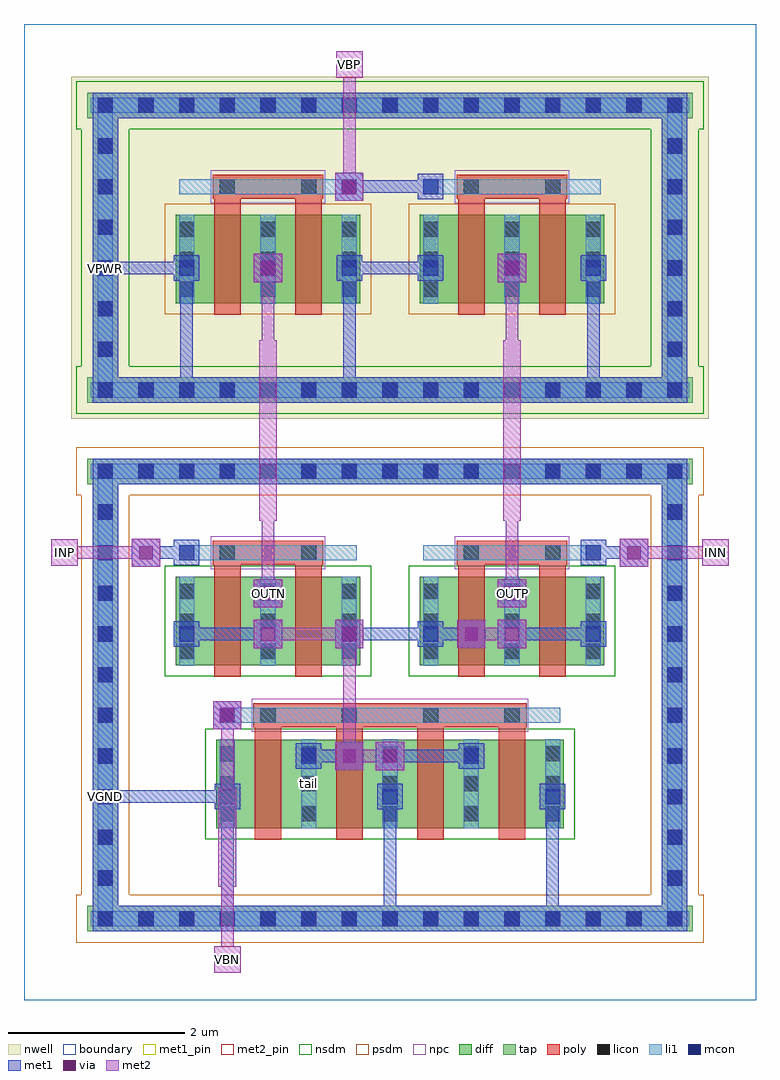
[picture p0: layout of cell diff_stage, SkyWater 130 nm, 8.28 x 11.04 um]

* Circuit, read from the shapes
.subckt diff_stage INN INP OUTN OUTP VBN VBP VGND VPWR tail
XM1 OUTN INP tail VGND sky130_fd_pr__nfet_01v8 w=1 l=0.3 m=2
XM2 tail VBN VGND VGND sky130_fd_pr__nfet_01v8 w=1 l=0.3 m=4
XM3 OUTP INN tail VGND sky130_fd_pr__nfet_01v8 w=1 l=0.3 m=2
XM4 OUTN VBP VPWR VPWR sky130_fd_pr__pfet_01v8 w=1 l=0.3 m=2
XM5 OUTP VBP VPWR VPWR sky130_fd_pr__pfet_01v8 w=1 l=0.3 m=2
.ends

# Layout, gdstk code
import gdstk
lib = gdstk.Library(unit=1e-6, precision=1e-09)
def R(c, l, rs):  # rectangles x0, y0, x1, y1
    for r in rs: c.add(gdstk.rectangle(r[:2], r[2:], *l))
def A(c, l, x, y, w, h, nx, ny, dx, dy):  # array of equal rectangles
    R(c, l, [(x+i*dx, y+j*dy, x+i*dx+w, y+j*dy+h) for i in range(nx) for j in range(ny)])
nwell = (64, 20)
diff = (65, 20)
tap = (65, 44)
poly = (66, 20)
licon = (66, 44)
li1 = (67, 20)
mcon = (67, 44)
met1_pin = (68, 16)
met1 = (68, 20)
via = (68, 44)
met2_pin = (69, 16)
met2 = (69, 20)
nsdm = (93, 44)
psdm = (94, 20)
npc = (95, 20)
boundary = (235, 4)

diff_stage = lib.new_cell('diff_stage')
R(diff_stage, nwell, [(0.535,6.575,7.745,10.445)])
R(diff_stage, diff, [(2.175,1.945,6.105,2.945), (1.715,3.785,3.805,4.785), (4.475,3.785,6.565,4.785), (1.715,7.88,3.805,8.88), (4.475,7.88,6.565,8.88)])
R(diff_stage, tap, [(0.715,0.775,7.565,1.065), (0.775,0.775,1.065,6.125), (7.215,0.775,7.505,6.125), (0.715,5.835,7.565,6.125), (0.715,6.755,7.565,7.045), (0.775,6.755,1.065,10.265), (7.215,6.755,7.505,10.265), (0.715,9.975,7.565,10.265)])
A(diff_stage, poly, 2.61, 1.815, 0.3, 1.405, 4, 1, 0.92, 0)
R(diff_stage, poly, [(2.595,3.085,5.685,3.355), (2.15,3.655,2.45,5.06), (3.07,3.655,3.37,5.06), (4.91,3.655,5.21,5.06), (5.83,3.655,6.13,5.06), (2.135,4.925,3.385,5.195), (4.895,4.925,6.145,5.195), (2.15,7.75,2.45,9.2), (3.07,7.75,3.37,9.2), (4.91,7.75,5.21,9.2), (5.83,7.75,6.13,9.2), (2.135,9.065,3.385,9.335), (4.895,9.065,6.145,9.335)])
A(diff_stage, licon, 0.835, 0.835, 0.17, 0.17, 15, 2, 0.46, 5.06)
A(diff_stage, licon, 0.835, 1.295, 0.17, 0.17, 1, 10, 0, 0.46)
A(diff_stage, licon, 7.275, 1.295, 0.17, 0.17, 1, 10, 0, 0.46)
A(diff_stage, licon, 2.215, 2.02, 0.17, 0.17, 5, 3, 0.92, 0.34)
A(diff_stage, licon, 2.675, 3.135, 0.17, 0.17, 4, 1, 0.92, 0)
A(diff_stage, licon, 1.755, 3.86, 0.17, 0.17, 6, 3, 0.92, 0.34)
A(diff_stage, licon, 0.835, 6.815, 0.17, 0.17, 15, 2, 0.46, 3.22)
A(diff_stage, licon, 0.835, 7.275, 0.17, 0.17, 1, 6, 0, 0.46)
A(diff_stage, licon, 7.275, 7.275, 0.17, 0.17, 1, 6, 0, 0.46)
A(diff_stage, licon, 1.755, 7.955, 0.17, 0.17, 6, 3, 0.92, 0.34)
R(diff_stage, licon, [(2.215,4.975,2.385,5.145), (3.135,4.975,3.305,5.145), (4.975,4.975,5.145,5.145), (5.895,4.975,6.065,5.145), (2.215,9.115,2.385,9.285), (3.135,9.115,3.305,9.285), (4.975,9.115,5.145,9.285), (5.895,9.115,6.065,9.285)])
A(diff_stage, li1, 2.215, 1.94, 0.17, 1.01, 5, 1, 0.92, 0)
A(diff_stage, li1, 1.755, 3.78, 0.17, 1.01, 6, 2, 0.92, 4.095)
R(diff_stage, li1, [(0.755,0.835,7.525,1.005), (0.835,0.835,1.005,6.065), (7.275,0.835,7.445,6.065), (2.215,3.135,6.065,3.305), (1.755,4.975,3.765,5.145), (4.515,4.975,6.525,5.145), (0.755,5.895,7.525,6.065), (0.755,6.815,7.525,6.985), (0.835,6.815,1.005,10.205), (7.275,6.815,7.445,10.205), (1.755,9.115,3.765,9.285), (4.515,9.115,6.525,9.285), (0.755,10.035,7.525,10.205)])
A(diff_stage, mcon, 0.835, 0.835, 0.17, 0.17, 15, 2, 0.46, 5.06)
A(diff_stage, mcon, 0.835, 1.295, 0.17, 0.17, 1, 10, 0, 0.46)
A(diff_stage, mcon, 7.275, 1.295, 0.17, 0.17, 1, 10, 0, 0.46)
A(diff_stage, mcon, 2.215, 2.215, 0.17, 0.17, 3, 1, 1.84, 0)
A(diff_stage, mcon, 0.835, 6.815, 0.17, 0.17, 15, 2, 0.46, 3.22)
A(diff_stage, mcon, 0.835, 8.195, 0.17, 0.17, 8, 1, 0.92, 0)
A(diff_stage, mcon, 0.835, 8.655, 0.17, 0.17, 1, 3, 0, 0.46)
A(diff_stage, mcon, 7.275, 8.655, 0.17, 0.17, 1, 3, 0, 0.46)
R(diff_stage, mcon, [(3.135,2.675,3.305,2.845), (4.975,2.675,5.145,2.845), (2.215,3.135,2.385,3.305), (1.755,4.055,1.925,4.225), (3.595,4.055,3.765,4.225), (4.515,4.055,4.685,4.225), (6.355,4.055,6.525,4.225), (2.675,4.515,2.845,4.685), (5.435,4.515,5.605,4.685), (1.755,4.975,1.925,5.145), (6.355,4.975,6.525,5.145), (0.835,7.275,1.005,7.445), (7.275,7.275,7.445,7.445), (0.835,7.735,1.005,7.905), (7.275,7.735,7.445,7.905), (3.595,9.115,3.765,9.285), (4.515,9.115,4.685,9.285)])
R(diff_stage, met1_pin, [(0.85,2.23,0.99,2.37), (0.85,8.21,0.99,8.35)])
A(diff_stage, met1, 2.23, 0.85, 0.14, 1.52, 3, 1, 1.84, 0)
A(diff_stage, met1, 2.155, 2.155, 0.29, 0.29, 3, 1, 1.84, 0)
A(diff_stage, met1, 1.77, 4.07, 1.06, 0.14, 3, 1, 1.84, 0)
A(diff_stage, met1, 1.695, 8.135, 0.29, 0.29, 6, 1, 0.92, 0)
R(diff_stage, met1, [(0.775,0.775,7.505,1.065), (0.775,0.775,1.065,6.125), (7.215,0.775,7.505,6.125), (2.23,0.85,4.21,0.99), (4.07,0.85,6.05,0.99), (0.85,2.23,0.99,2.37), (0.85,2.23,2.37,2.37), (0.85,2.23,0.99,6.05), (3.52,2.6,3.84,2.92), (3.98,2.6,4.3,2.92), (3.075,2.615,3.365,2.905), (4.915,2.615,5.205,2.905), (3.15,2.69,3.75,2.83), (4.07,2.69,5.13,2.83), (2.14,3.06,2.46,3.38), (2.155,3.075,2.445,3.365), (2.6,3.98,2.92,4.3), (3.52,3.98,3.84,4.3), (4.9,3.98,5.22,4.3), (5.36,3.98,5.68,4.3), (1.695,3.995,1.985,4.285), (3.535,3.995,3.825,4.285), (4.455,3.995,4.745,4.285), (6.295,3.995,6.585,4.285), (4.53,4.07,5.13,4.21), (2.6,4.44,2.92,4.76), (5.36,4.44,5.68,4.76), (2.615,4.455,2.905,4.745), (5.375,4.455,5.665,4.745), (1.22,4.9,1.54,5.22), (6.74,4.9,7.06,5.22), (1.695,4.915,1.985,5.205), (6.295,4.915,6.585,5.205), (1.31,4.99,1.91,5.13), (6.37,4.99,6.97,5.13), (0.775,5.835,7.505,6.125), (0.85,5.91,0.99,6.05), (0.775,6.755,7.505,7.045), (0.775,6.755,1.065,10.265), (7.215,6.755,7.505,10.265), (1.77,6.83,1.91,8.35), (1.77,6.83,3.75,6.97), (3.61,6.83,3.75,8.35), (3.61,6.83,6.51,6.97), (6.37,6.83,6.51,8.35), (2.6,8.12,2.92,8.44), (5.36,8.12,5.68,8.44), (0.85,8.21,1.91,8.35), (0.85,8.21,0.99,8.35), (0.85,8.21,0.99,10.19), (3.61,8.21,4.67,8.35), (3.52,9.04,3.84,9.36), (3.535,9.055,3.825,9.345), (4.455,9.055,4.745,9.345), (3.61,9.13,4.67,9.27), (0.775,9.975,7.505,10.265), (0.85,10.05,0.99,10.19)])
R(diff_stage, via, [(3.605,2.685,3.755,2.835), (4.065,2.685,4.215,2.835), (2.225,3.145,2.375,3.295), (2.685,4.065,2.835,4.215), (3.605,4.065,3.755,4.215), (4.985,4.065,5.135,4.215), (5.445,4.065,5.595,4.215), (2.685,4.525,2.835,4.675), (5.445,4.525,5.595,4.675), (1.305,4.985,1.455,5.135), (6.825,4.985,6.975,5.135), (2.685,8.205,2.835,8.355), (5.445,8.205,5.595,8.355), (3.605,9.125,3.755,9.275)])
R(diff_stage, met2_pin, [(2.15,0.31,2.45,0.61), (2.6,4.44,2.92,4.76), (5.36,4.44,5.68,4.76), (0.31,4.91,0.61,5.21), (7.67,4.91,7.97,5.21), (3.53,10.43,3.83,10.73)])
R(diff_stage, met2, [(2.15,0.31,2.45,0.61), (2.23,0.39,2.37,1.45), (2.23,0.39,2.37,0.53), (2.2,1.28,2.4,2.4), (2.23,2.23,2.37,3.29), (3.52,2.6,3.84,2.92), (3.98,2.6,4.3,2.92), (3.61,2.69,3.75,4.21), (3.61,2.69,4.21,2.83), (2.14,3.06,2.46,3.38), (2.6,3.98,2.92,4.3), (3.52,3.98,3.84,4.3), (4.9,3.98,5.22,4.3), (5.36,3.98,5.68,4.3), (2.69,4.07,3.75,4.21), (4.99,4.07,5.59,4.21), (2.6,4.44,2.92,4.76), (5.36,4.44,5.68,4.76), (2.69,4.53,2.83,5.59), (5.45,4.53,5.59,5.59), (1.22,4.9,1.54,5.22), (6.74,4.9,7.06,5.22), (0.31,4.91,0.61,5.21), (7.67,4.91,7.97,5.21), (0.39,4.99,0.53,5.13), (0.39,4.99,1.45,5.13), (6.83,4.99,7.89,5.13), (7.75,4.99,7.89,5.13), (2.66,5.42,2.86,7.46), (5.42,5.42,5.62,7.46), (2.69,7.29,2.83,8.35), (5.45,7.29,5.59,8.35), (2.6,8.12,2.92,8.44), (5.36,8.12,5.68,8.44), (3.52,9.04,3.84,9.36), (3.61,9.13,3.75,10.65), (3.53,10.43,3.83,10.73), (3.61,10.51,3.75,10.65)])
R(diff_stage, nsdm, [(2.05,1.82,6.23,3.07), (1.59,3.66,3.93,4.91), (4.35,3.66,6.69,4.91), (0.59,6.63,7.69,7.17), (0.65,7.17,1.19,9.85), (7.09,7.17,7.63,9.85), (0.59,9.85,7.69,10.39)])
R(diff_stage, psdm, [(0.59,0.65,7.69,1.19), (0.65,1.19,1.19,5.71), (7.09,1.19,7.63,5.71), (0.59,5.71,7.69,6.25), (1.59,7.755,3.93,9.005), (4.35,7.755,6.69,9.005)])
R(diff_stage, npc, [(2.575,3.035,5.705,3.405), (2.115,4.875,3.405,5.245), (4.875,4.875,6.165,5.245), (2.115,9.015,3.405,9.385), (4.875,9.015,6.165,9.385)])
R(diff_stage, boundary, [(0,0,8.28,11.04)])
diff_stage.add(gdstk.Label('tail', (3.22,2.445), layer=67, texttype=5))
diff_stage.add(gdstk.Label('VPWR', (0.92,8.28), layer=68, texttype=5))
diff_stage.add(gdstk.Label('VGND', (0.92,2.3), layer=68, texttype=5))
diff_stage.add(gdstk.Label('INP', (0.46,5.06), layer=69, texttype=5))
diff_stage.add(gdstk.Label('INN', (7.82,5.06), layer=69, texttype=5))
diff_stage.add(gdstk.Label('VBN', (2.3,0.46), layer=69, texttype=5))
diff_stage.add(gdstk.Label('VBP', (3.68,10.58), layer=69, texttype=5))
diff_stage.add(gdstk.Label('OUTP', (5.52,4.6), layer=69, texttype=5))
diff_stage.add(gdstk.Label('OUTN', (2.76,4.6), layer=69, texttype=5))
diff_stage.add(gdstk.Label('VPWR', (0.92,8.28), layer=68, texttype=16))
diff_stage.add(gdstk.Label('VGND', (0.92,2.3), layer=68, texttype=16))
diff_stage.add(gdstk.Label('INP', (0.46,5.06), layer=69, texttype=16))
diff_stage.add(gdstk.Label('INN', (7.82,5.06), layer=69, texttype=16))
diff_stage.add(gdstk.Label('VBN', (2.3,0.46), layer=69, texttype=16))
diff_stage.add(gdstk.Label('VBP', (3.68,10.58), layer=69, texttype=16))
diff_stage.add(gdstk.Label('OUTP', (5.52,4.6), layer=69, texttype=16))
diff_stage.add(gdstk.Label('OUTN', (2.76,4.6), layer=69, texttype=16))

lib.write_gds('diff_stage.gds')
